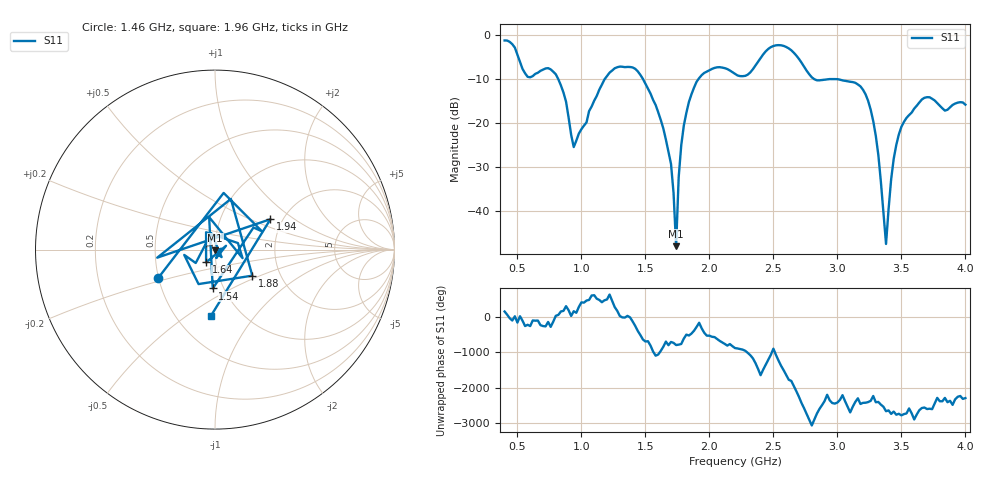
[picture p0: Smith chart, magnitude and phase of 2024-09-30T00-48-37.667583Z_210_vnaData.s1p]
!Created with skrf (http://scikit-rf.org).
# Hz S RI R 50.0
!freq ReS11 ImS11
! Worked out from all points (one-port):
!   181 points, 400 MHz to 4 GHz, reference 50 ohm
!   lowest |S11| = -48.0 dB at 1.74 GHz (marker M1), VSWR 1.01, Z = 50.1 - j0.39 ohm
!   |S11| at or under -10 dB: 819.3 MHz to 1.182 GHz (362.4 MHz wide, 36.2 % of centre); 1.482 GHz to 1.914 GHz (432.7 MHz wide, 25.5 % of centre); 3.001 GHz to end of sweep (the widest 3 of 4)
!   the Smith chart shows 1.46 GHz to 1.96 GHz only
!   S11 on the Smith chart (normalised r, x): 1.46 GHz: 0.50, -0.18; 1.54 GHz: 0.89, -0.40; 1.64 GHz: 0.90, -0.13; 1.88 GHz: 1.44, -0.45; 1.94 GHz: 1.73, +0.67; 1.96 GHz: 0.73, -0.63
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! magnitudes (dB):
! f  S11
! 400 MHz  -1.2
! 580 MHz  -9.5
! 740 MHz  -7.5
! 860 MHz  -13.1
! 940 MHz  -25.5
! 1.3 GHz  -7.1
! 1.46 GHz  -9.0
! 1.54 GHz  -13.3
! 1.64 GHz  -21.2
! 1.7 GHz  -29.3
! 1.74 GHz  -48.0
! 1.76 GHz  -32.3
! 1.8 GHz  -20.6
! 1.88 GHz  -11.9
! 1.94 GHz  -9.1
! 1.96 GHz  -8.6
! 2.2 GHz  -8.8
! 2.5 GHz  -2.5
! 2.66 GHz  -4.0
! 2.82 GHz  -10.0
! 3.1 GHz  -10.6
! 3.28 GHz  -19.6
! 3.32 GHz  -27.3
! 3.38 GHz  -47.5
! 3.44 GHz  -28.1
! 3.56 GHz  -18.2
! 3.7 GHz  -14.1
! 4 GHz  -15.8
